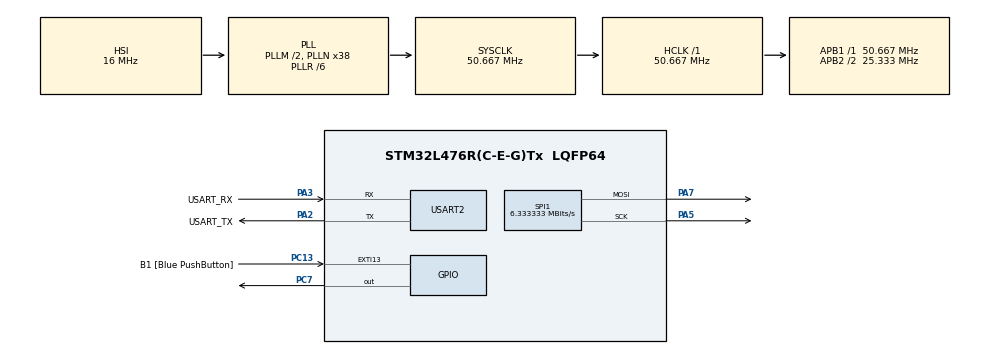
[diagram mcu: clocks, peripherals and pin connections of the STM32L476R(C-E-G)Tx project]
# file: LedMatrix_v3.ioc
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Dma.Request0=SPI1_TX
Dma.Request1=USART2_RX
Dma.SPI1_TX.0.Direction=DMA_MEMORY_TO_PERIPH
Dma.SPI1_TX.0.Instance=DMA1_Channel3
Dma.SPI1_TX.0.MemDataAlignment=DMA_MDATAALIGN_BYTE
Dma.SPI1_TX.0.MemInc=DMA_MINC_ENABLE
Dma.SPI1_TX.0.Mode=DMA_NORMAL
Dma.SPI1_TX.0.PeriphDataAlignment=DMA_PDATAALIGN_BYTE
Dma.SPI1_TX.0.PeriphInc=DMA_PINC_DISABLE
Dma.SPI1_TX.0.Priority=DMA_PRIORITY_LOW
Dma.USART2_RX.1.Direction=DMA_PERIPH_TO_MEMORY
Dma.USART2_RX.1.Instance=DMA1_Channel6
Dma.USART2_RX.1.MemDataAlignment=DMA_MDATAALIGN_BYTE
Dma.USART2_RX.1.MemInc=DMA_MINC_ENABLE
Dma.USART2_RX.1.Mode=DMA_CIRCULAR
Dma.USART2_RX.1.PeriphDataAlignment=DMA_PDATAALIGN_BYTE
Dma.USART2_RX.1.PeriphInc=DMA_PINC_DISABLE
Dma.USART2_RX.1.Priority=DMA_PRIORITY_LOW
Mcu.Family=STM32L4
Mcu.Name=STM32L476R(C-E-G)Tx
Mcu.Package=LQFP64
NVIC.DMA1_Channel3_IRQn=true\:0\:0\:false\:false\:true\:false\:true\:true
NVIC.DMA1_Channel6_IRQn=true\:0\:0\:false\:false\:true\:false\:true\:true
NVIC.PriorityGroup=NVIC_PRIORITYGROUP_4
NVIC.SPI1_IRQn=true\:0\:0\:false\:false\:true\:true\:true\:true
NVIC.USART2_IRQn=true\:0\:0\:false\:false\:true\:true\:true\:true
PA13\ (JTMS-SWDIO).GPIO_Label=TMS
PA13\ (JTMS-SWDIO).Mode=Serial_Wire
PA13\ (JTMS-SWDIO).Signal=SYS_JTMS-SWDIO
PA14\ (JTCK-SWCLK).GPIO_Label=TCK
PA14\ (JTCK-SWCLK).Mode=Serial_Wire
PA14\ (JTCK-SWCLK).Signal=SYS_JTCK-SWCLK
PA2.GPIO_Label=USART_TX
PA2.GPIO_Mode=GPIO_MODE_AF_PP
PA2.GPIO_PuPd=GPIO_NOPULL
PA2.GPIO_Speed=GPIO_SPEED_FREQ_VERY_HIGH
PA2.Mode=Asynchronous
PA2.Signal=USART2_TX
PA3.GPIO_Label=USART_RX
PA3.GPIO_Mode=GPIO_MODE_AF_PP
PA3.GPIO_PuPd=GPIO_NOPULL
PA3.GPIO_Speed=GPIO_SPEED_FREQ_VERY_HIGH
PA3.Mode=Asynchronous
PA3.Signal=USART2_RX
PA5.Mode=TX_Only_Simplex_Unidirect_Master
PA5.Signal=SPI1_SCK
PA7.Mode=TX_Only_Simplex_Unidirect_Master
PA7.Signal=SPI1_MOSI
PB3\ (JTDO-TRACESWO).GPIO_Label=SWO
PB3\ (JTDO-TRACESWO).Signal=SYS_JTDO-SWO
PC13.GPIO_Label=B1 [Blue PushButton]
PC13.GPIO_ModeDefaultEXTI=GPIO_MODE_IT_FALLING
PC13.GPIO_PuPd=GPIO_PULLUP
PC13.Signal=GPXTI13
PC14-OSC32_IN\ (PC14).Mode=LSE-External-Oscillator
PC14-OSC32_IN\ (PC14).Signal=RCC_OSC32_IN
PC15-OSC32_OUT\ (PC15).Mode=LSE-External-Oscillator
PC15-OSC32_OUT\ (PC15).Signal=RCC_OSC32_OUT
PC7.PinState=GPIO_PIN_SET
PC7.Signal=GPIO_Output
PH0-OSC_IN\ (PH0).Signal=RCC_OSC_IN
PH1-OSC_OUT\ (PH1).Signal=RCC_OSC_OUT
ProjectManager.HeapSize=0x2000
ProjectManager.StackSize=0x2000
ProjectManager.TargetToolchain=STM32CubeIDE
RCC.ADCFreq_Value=32000000
RCC.AHBFreq_Value=50666666.666666664
RCC.APB1Freq_Value=50666666.666666664
RCC.APB1TimFreq_Value=50666666.666666664
RCC.APB2CLKDivider=RCC_HCLK_DIV2
RCC.APB2Freq_Value=25333333.333333332
RCC.APB2TimFreq_Value=50666666.666666664
RCC.CortexFreq_Value=50666666.666666664
RCC.FLatency-AdvancedSettings=FLASH_LATENCY_0
RCC.HCLKFreq_Value=50666666.666666664
RCC.HSE_VALUE=8000000
RCC.HSI_VALUE=16000000
RCC.MSI_VALUE=4000000
RCC.PLLM=2
RCC.PLLN=38
RCC.PLLR=RCC_PLLR_DIV6
RCC.PLLSourceVirtual=RCC_PLLSOURCE_HSI
RCC.PREFETCH_ENABLE=1
RCC.SYSCLKFreq_VALUE=50666666.666666664
RCC.SYSCLKSource=RCC_SYSCLKSOURCE_PLLCLK
RCC.USBFreq_Value=32000000
RCC.VCOOutputFreq_Value=304000000
SPI1.BaudRatePrescaler=SPI_BAUDRATEPRESCALER_4
SPI1.CalculateBaudRate=6.333333 MBits/s
SPI1.DataSize=SPI_DATASIZE_8BIT
SPI1.Direction=SPI_DIRECTION_2LINES
SPI1.FirstBit=SPI_FIRSTBIT_MSB
SPI1.Mode=SPI_MODE_MASTER
SPI1.NSSPMode=SPI_NSS_PULSE_DISABLE
SPI1.VirtualType=VM_MASTER
USART2.VirtualMode-Asynchronous=VM_ASYNC
board=NUCLEO-L476RG

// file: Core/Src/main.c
/* USER CODE BEGIN Header */
/**
 ******************************************************************************
 * @file           : main.c
 * @brief          : Main program body
 ******************************************************************************
 * @attention
 *
 * Copyright (c) 2024 STMicroelectronics.
 * All rights reserved.
 *
 * This software is licensed under terms that can be found in the LICENSE file
 * in the root directory of this software component.
 * If no LICENSE file comes with this software, it is provided AS-IS.
 *
 ******************************************************************************
 */
/* USER CODE END Header */
#include "main.h"

/* USER CODE BEGIN PD */
#define NUM_OF_PIXELS (128)
#define PAYLOAD_BYTES (40)
#define DISP_WIDTH (16)
#define DISP_HEIGHT (8)
#define COLOR_SIZE (8)
#define SPI_WORD_LEN (8)
/* USER CODE END PD */

SPI_HandleTypeDef hspi1;
DMA_HandleTypeDef hdma_spi1_tx;

UART_HandleTypeDef huart2;
DMA_HandleTypeDef hdma_usart2_rx;

/* USER CODE BEGIN PV */
uint8_t matrix_buffor[PAYLOAD_BYTES + NUM_OF_PIXELS * 3 * SPI_WORD_LEN];
uint8_t input[NUM_OF_PIXELS * 3];
const uint8_t zero = 0b11100000;
const uint8_t one = 0b11111000;
const uint8_t reset = 0b00000000;
/* USER CODE END PV */

void SystemClock_Config(void);
static void MX_GPIO_Init(void);
static void MX_DMA_Init(void);
static void MX_USART2_UART_Init(void);
static void MX_SPI1_Init(void);
/* USER CODE BEGIN PFP */

typedef struct{
	uint8_t red;
	uint8_t green;
	uint8_t blue;
}Pixel;

Pixel px[NUM_OF_PIXELS];
Pixel matrix[DISP_HEIGHT][DISP_WIDTH];
Pixel tempMatrix[DISP_HEIGHT][2*DISP_WIDTH];
Pixel blank = {0,0,0};
uint8_t control = 0;
uint8_t animation_number = 0;

void create_px_stream(Pixel *px, uint8_t *outputbuf) {
	for (size_t i = 0; i < COLOR_SIZE; i++) {
		if (px->green & (1 << (7 - i)))
			outputbuf[i] = one;
		else
			outputbuf[i] = zero;
	}
	outputbuf = &outputbuf[COLOR_SIZE];

	for (size_t i = 0; i < COLOR_SIZE; i++) {
		if (px->red & (1 << (7 - i)))
			outputbuf[i] = one;
		else
			outputbuf[i] = zero;
	}
	outputbuf = &outputbuf[COLOR_SIZE];

	for (size_t i = 0; i < COLOR_SIZE; i++) {
		if (px->blue & (1 << (7 - i)))
			outputbuf[i] = one;
		else
			outputbuf[i] = zero;
	}
}

void create_preambule_stream(uint8_t *outputbuf){
	for(size_t i = 0; i < PAYLOAD_BYTES; i++){
		outputbuf[i] = reset;
	}
}

void create_matrix_stream(Pixel* px, uint8_t *outputbuf, uint8_t pixelcount){
	create_preambule_stream(outputbuf);
	uint8_t* payload = &outputbuf[PAYLOAD_BYTES];
	for(size_t i = 0; i < pixelcount; i++){
		create_px_stream(&px[i], &(payload[i*sizeof(Pixel)*SPI_WORD_LEN]));
	}
}

void send_data_to_stoplight(){
	create_matrix_stream(px, matrix_buffor, NUM_OF_PIXELS);
	HAL_SPI_Transmit_DMA(&hspi1, matrix_buffor, sizeof(matrix_buffor));
}

void update_matrix(){
	for (size_t row = 0; row < DISP_HEIGHT; row++){
		for (size_t col = 0; col < DISP_WIDTH; col++){
			matrix[row][col] = px[col + row*DISP_WIDTH];
		}
	}
}

void sliding_right_animation(){
	update_matrix();
	for (size_t row = 0; row < DISP_HEIGHT; row++){
		for (size_t col = 0; col < DISP_WIDTH; col++){
			if (col == 0)
				px[col + row*DISP_WIDTH] = matrix[row][DISP_WIDTH - 1];
			else
				px[col + row * DISP_WIDTH] = matrix[row][col-1];
		}
	}
	send_data_to_stoplight();
}

void sliding_left_animation() {
    update_matrix();
    for (size_t row = 0; row < DISP_HEIGHT; row++) {
        for (size_t col = 0; col < DISP_WIDTH; col++) {
            if (col == DISP_WIDTH - 1)
                px[col + row * DISP_WIDTH] = matrix[row][0];
            else
                px[col + row * DISP_WIDTH] = matrix[row][col + 1];
        }
    }
	send_data_to_stoplight();
}
void sliding_once() {
	update_matrix();
	if (control > DISP_WIDTH){
		for (size_t row = 0; row < DISP_HEIGHT; row++){
			for (size_t col = 0; col < DISP_WIDTH; col++){ 				// od środka do zniknięcia z prawej strony
				if (col == 0){
					px[col + row*DISP_WIDTH] = blank;
				}
				else
					px[col + row * DISP_WIDTH] = matrix[row][col-1];
			}
		}
	}
	send_data_to_stoplight();
}

void display_init(){
	for(size_t i = 0; i < NUM_OF_PIXELS; i++){
		px[i].red = 0;
		px[i].blue = 0;
		px[i].green= 0;
	}
}
/* USER CODE END PFP */

int main(void)
{

  /* MCU Configuration--------------------------------------------------------*/

  /* Reset of all peripherals, Initializes the Flash interface and the Systick. */
  HAL_Init();

  /* Configure the system clock */
  SystemClock_Config();

  /* Initialize all configured peripherals */
  MX_GPIO_Init();
  MX_DMA_Init();
  MX_USART2_UART_Init();
  MX_SPI1_Init();
  /* USER CODE BEGIN 2 */

  display_init();
  HAL_UART_Receive_DMA(&huart2, (uint8_t*)px, sizeof(px));

  /* USER CODE END 2 */

  /* Infinite loop */
  /* USER CODE BEGIN WHILE */
	while (1) {
		static uint32_t counter = 0;
		if(HAL_GetTick() - counter > 50){
			counter = HAL_GetTick();

			switch (0){
			case 0:
				// obrazek jest nieruchomy
				break;
			case 1:
				sliding_right_animation();
				break;
			case 2:
				sliding_left_animation();
				break;
			}
			// Dostępne animacje:
			//sliding_left_animation(); - obrazek zapętlony leci od prawej do lewej
			//sliding_right_animation(); - obrazek zapętlony leci od lewej do prawej
			//shift_left_to_right_animation(); - obrazek wyjeżdża z lewej i chowa się z prawej (bezpowrotnie)
		}
	}

    /* USER CODE END WHILE */

}

void SystemClock_Config(void)
{
  RCC_OscInitTypeDef RCC_OscInitStruct = {0};
  RCC_ClkInitTypeDef RCC_ClkInitStruct = {0};

  /** Configure the main internal regulator output voltage
  */
  if (HAL_PWREx_ControlVoltageScaling(PWR_REGULATOR_VOLTAGE_SCALE1) != HAL_OK)
  {
    Error_Handler();
  }

  /** Initializes the RCC Oscillators according to the specified parameters
  * in the RCC_OscInitTypeDef structure.
  */
  RCC_OscInitStruct.OscillatorType = RCC_OSCILLATORTYPE_HSI;
  RCC_OscInitStruct.HSIState = RCC_HSI_ON;
  RCC_OscInitStruct.HSICalibrationValue = RCC_HSICALIBRATION_DEFAULT;
  RCC_OscInitStruct.PLL.PLLState = RCC_PLL_ON;
  RCC_OscInitStruct.PLL.PLLSource = RCC_PLLSOURCE_HSI;
  RCC_OscInitStruct.PLL.PLLM = 2;
  RCC_OscInitStruct.PLL.PLLN = 38;
  RCC_OscInitStruct.PLL.PLLP = RCC_PLLP_DIV7;
  RCC_OscInitStruct.PLL.PLLQ = RCC_PLLQ_DIV2;
  RCC_OscInitStruct.PLL.PLLR = RCC_PLLR_DIV6;
  if (HAL_RCC_OscConfig(&RCC_OscInitStruct) != HAL_OK)
  {
    Error_Handler();
  }

  /** Initializes the CPU, AHB and APB buses clocks
  */
  RCC_ClkInitStruct.ClockType = RCC_CLOCKTYPE_HCLK|RCC_CLOCKTYPE_SYSCLK
                              |RCC_CLOCKTYPE_PCLK1|RCC_CLOCKTYPE_PCLK2;
  RCC_ClkInitStruct.SYSCLKSource = RCC_SYSCLKSOURCE_PLLCLK;
  RCC_ClkInitStruct.AHBCLKDivider = RCC_SYSCLK_DIV1;
  RCC_ClkInitStruct.APB1CLKDivider = RCC_HCLK_DIV1;
  RCC_ClkInitStruct.APB2CLKDivider = RCC_HCLK_DIV2;

  if (HAL_RCC_ClockConfig(&RCC_ClkInitStruct, FLASH_LATENCY_3) != HAL_OK)
  {
    Error_Handler();
  }
}

static void MX_SPI1_Init(void)
{

  /* SPI1 parameter configuration*/
  hspi1.Instance = SPI1;
  hspi1.Init.Mode = SPI_MODE_MASTER;
  hspi1.Init.Direction = SPI_DIRECTION_2LINES;
  hspi1.Init.DataSize = SPI_DATASIZE_8BIT;
  hspi1.Init.CLKPolarity = SPI_POLARITY_LOW;
  hspi1.Init.CLKPhase = SPI_PHASE_1EDGE;
  hspi1.Init.NSS = SPI_NSS_SOFT;
  hspi1.Init.BaudRatePrescaler = SPI_BAUDRATEPRESCALER_4;
  hspi1.Init.FirstBit = SPI_FIRSTBIT_MSB;
  hspi1.Init.TIMode = SPI_TIMODE_DISABLE;
  hspi1.Init.CRCCalculation = SPI_CRCCALCULATION_DISABLE;
  hspi1.Init.CRCPolynomial = 7;
  hspi1.Init.CRCLength = SPI_CRC_LENGTH_DATASIZE;
  hspi1.Init.NSSPMode = SPI_NSS_PULSE_DISABLE;
  if (HAL_SPI_Init(&hspi1) != HAL_OK)
  {
    Error_Handler();
  }

}

static void MX_USART2_UART_Init(void)
{

  huart2.Instance = USART2;
  huart2.Init.BaudRate = 115200;
  huart2.Init.WordLength = UART_WORDLENGTH_8B;
  huart2.Init.StopBits = UART_STOPBITS_1;
  huart2.Init.Parity = UART_PARITY_NONE;
  huart2.Init.Mode = UART_MODE_TX_RX;
  huart2.Init.HwFlowCtl = UART_HWCONTROL_NONE;
  huart2.Init.OverSampling = UART_OVERSAMPLING_16;
  huart2.Init.OneBitSampling = UART_ONE_BIT_SAMPLE_DISABLE;
  huart2.AdvancedInit.AdvFeatureInit = UART_ADVFEATURE_NO_INIT;
  if (HAL_UART_Init(&huart2) != HAL_OK)
  {
    Error_Handler();
  }

}

static void MX_DMA_Init(void)
{

  /* DMA controller clock enable */
  __HAL_RCC_DMA1_CLK_ENABLE();

  /* DMA interrupt init */
  /* DMA1_Channel3_IRQn interrupt configuration */
  HAL_NVIC_SetPriority(DMA1_Channel3_IRQn, 0, 0);
  HAL_NVIC_EnableIRQ(DMA1_Channel3_IRQn);
  /* DMA1_Channel6_IRQn interrupt configuration */
  HAL_NVIC_SetPriority(DMA1_Channel6_IRQn, 0, 0);
  HAL_NVIC_EnableIRQ(DMA1_Channel6_IRQn);

}

static void MX_GPIO_Init(void)
{
  GPIO_InitTypeDef GPIO_InitStruct = {0};

  /* GPIO Ports Clock Enable */
  __HAL_RCC_GPIOC_CLK_ENABLE();
  __HAL_RCC_GPIOH_CLK_ENABLE();
  __HAL_RCC_GPIOA_CLK_ENABLE();
  __HAL_RCC_GPIOB_CLK_ENABLE();

  /*Configure GPIO pin Output Level */
  HAL_GPIO_WritePin(GPIOC, GPIO_PIN_7, GPIO_PIN_SET);

  /*Configure GPIO pin : B1_Pin */
  GPIO_InitStruct.Pin = B1_Pin;
  GPIO_InitStruct.Mode = GPIO_MODE_IT_FALLING;
  GPIO_InitStruct.Pull = GPIO_PULLUP;
  HAL_GPIO_Init(B1_GPIO_Port, &GPIO_InitStruct);

  /*Configure GPIO pin : PC7 */
  GPIO_InitStruct.Pin = GPIO_PIN_7;
  GPIO_InitStruct.Mode = GPIO_MODE_OUTPUT_PP;
  GPIO_InitStruct.Pull = GPIO_NOPULL;
  GPIO_InitStruct.Speed = GPIO_SPEED_FREQ_LOW;
  HAL_GPIO_Init(GPIOC, &GPIO_InitStruct);

}

/* USER CODE BEGIN 4 */

void HAL_UART_RxCpltCallback(UART_HandleTypeDef *huart)
{
	__NOP();
	send_data_to_stoplight();
}

void HAL_GPIO_EXTI_Callback(uint16_t GPIO_Pin) {
    if (GPIO_Pin == B1_Pin) {
    	animation_number++;
    	if (animation_number == 4) animation_number = 0;
    }
}

/* USER CODE END 4 */

void Error_Handler(void)
{
	__disable_irq();
	while (1) {
	}
}
